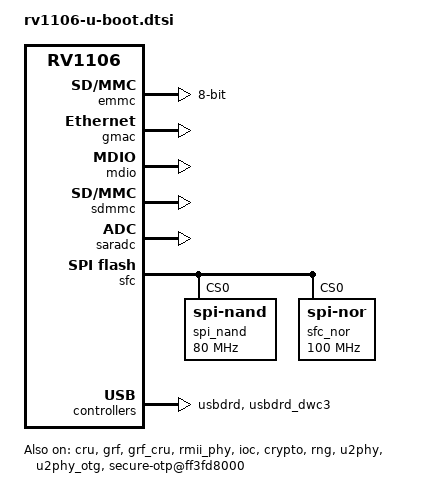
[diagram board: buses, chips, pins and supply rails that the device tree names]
/*
 * (C) Copyright 2022 Rockchip Electronics Co., Ltd
 *
 * SPDX-License-Identifier:     GPL-2.0+
 */

/ {
	aliases {
		mmc1 = &sdmmc;
		mmc0 = &emmc;
	};

	chosen {
		stdout-path = &uart2;
		u-boot,spl-boot-order = &sdmmc, &spi_nor, &spi_nand, &emmc;
	};

	secure-otp@ff3fd8000 {
		compatible = "rockchip,rv1106-secure-otp";
		reg = <0xff3d8000 0x4000>;
		secure_conf = <0xff07a018>;
		cru_rst_addr = <0xff3bca08>;
		mask_addr = <0xff3dc000>;
		u-boot,dm-spl;
		status = "okay";
	};
};

&emmc {
	mmc-ecsd = <0x3F000>;
	bus-width = <8>;
	mmc-hs200-1_8v;
	u-boot,dm-spl;
	status = "okay";
};

&cru {
	u-boot,dm-spl;
	status = "okay";
};

&gmac {
	u-boot,dm-spl;
	status = "okay";
};

&grf {
	u-boot,dm-spl;
	status = "okay";
};

&grf_cru {
	u-boot,dm-spl;
	status = "okay";
};

&mdio {
	u-boot,dm-spl;
	status = "okay";
};

&rmii_phy {
	u-boot,dm-spl;
	status = "okay";
};

&sdmmc {
	u-boot,dm-spl;
	pwr-en-gpios = <&gpio0 RK_PA1 GPIO_ACTIVE_LOW>;
	status = "okay";
};

&sdmmc0 {
	u-boot,dm-spl;
};

&sdmmc0_bus4 {
	u-boot,dm-spl;
};

&sdmmc0_clk {
	u-boot,dm-spl;
};

&sdmmc0_cmd {
	u-boot,dm-spl;
};

&sdmmc0_det {
	u-boot,dm-spl;
};

&sdmmc0_idle_pins {
	u-boot,dm-spl;
};

&sdmmc1m1_idle_pins {
	u-boot,dm-spl;
};

&pinctrl {
	u-boot,dm-spl;
	status = "okay";
};

&ioc {
	u-boot,dm-spl;
	status = "okay";
};

&pmuioc {
	u-boot,dm-spl;
	status = "okay";
};

&pcfg_pull_up_drv_level_2 {
	u-boot,dm-spl;
};

&pcfg_pull_up {
	u-boot,dm-spl;
};

&pcfg_pull_down{
	u-boot,dm-spl;
};

&gpio0 {
	u-boot,dm-spl;
	status = "okay";
};

&gpio1 {
	u-boot,dm-pre-reloc;
	status = "okay";
};

&gpio2 {
	u-boot,dm-pre-reloc;
	status = "okay";
};

&gpio3 {
	u-boot,dm-spl;
	status = "okay";
};

&gpio4 {
	u-boot,dm-pre-reloc;
	status = "okay";
};

&crypto {
	u-boot,dm-spl;
	clocks = <&cru CLK_CORE_CRYPTO>, <&cru CLK_PKA_CRYPTO>;
	clock-frequency = <300000000>, <300000000>;
	status = "okay";
};

&rng {
	u-boot,dm-spl;
	status = "okay";
};

&saradc {
	u-boot,dm-pre-reloc;
	status = "okay";
};

&sfc {
	u-boot,dm-spl;
	status = "okay";

	#address-cells = <1>;
	#size-cells = <0>;
	spi_nand: flash@0 {
		u-boot,dm-spl;
		compatible = "spi-nand";
		reg = <0>;
		spi-tx-bus-width = <1>;
		spi-rx-bus-width = <4>;
		spi-max-frequency = <80000000>;
	};

	spi_nor: flash@1 {
		u-boot,dm-spl;
		compatible = "jedec,spi-nor";
		label = "sfc_nor";
		reg = <0>;
		spi-tx-bus-width = <1>;
		spi-rx-bus-width = <4>;
		spi-max-frequency = <100000000>;
	};
};

&u2phy {
	u-boot,dm-pre-reloc;
	status = "okay";
};

&u2phy_otg {
	u-boot,dm-pre-reloc;
	status = "okay";
};

&usbdrd {
	u-boot,dm-pre-reloc;
	status = "okay";
};

&usbdrd_dwc3 {
	u-boot,dm-pre-reloc;
	status = "okay";
};
